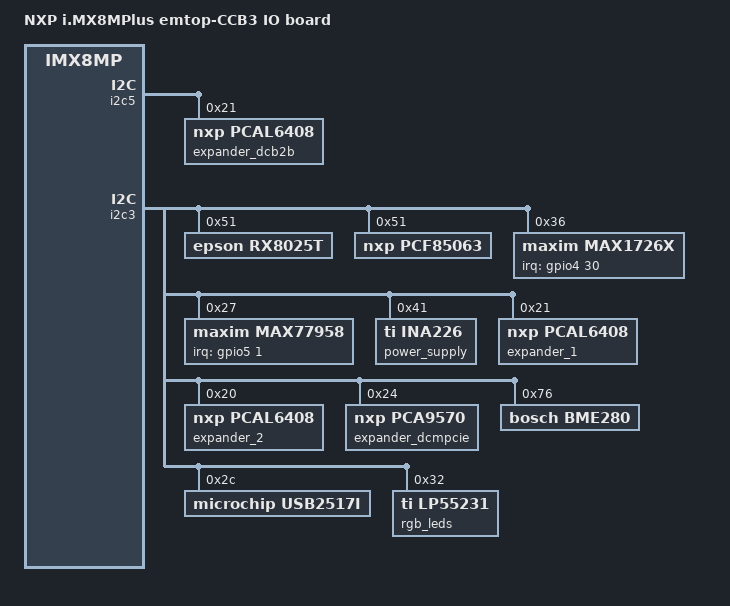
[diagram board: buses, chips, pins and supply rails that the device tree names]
#include "emtop-imx8mp-baseboard-hdmi.dts"

&pinctrl_hog {
	fsl,pins = <
		MX8MP_IOMUXC_ECSPI2_SCLK__GPIO5_IO10		0x19
		MX8MP_IOMUXC_ECSPI2_MOSI__GPIO5_IO11		0x19
		MX8MP_IOMUXC_ECSPI2_MISO__GPIO5_IO12		0x19
		MX8MP_IOMUXC_ECSPI2_SS0__GPIO5_IO13		0x19
	>;
};

// &pinctrl_uart2 {
// 	fsl,pins = <
// 		MX8MP_IOMUXC_UART2_RXD__GPIO5_IO24	0x19
// 		MX8MP_IOMUXC_UART2_TXD__GPIO5_IO25	0x19
// 	>;
// };


&iomuxc {
	pinctrl_uart4: uart4grp {
		fsl,pins = <
			MX8MP_IOMUXC_UART4_RXD__GPIO5_IO28	0x19
			MX8MP_IOMUXC_UART4_TXD__GPIO5_IO29	0x19
		>;
	};
};

/ {
	model = "NXP i.MX8MPlus emtop-CCB3 IO board";
	compatible = "fsl,imx8mp-evk", "fsl,imx8mp";

	aliases {
		rtc0 = &snvs_rtc;
		rtc1 = &pcf85063;
	};

	gpio-leds {
		act_led: sys {
			label = "led0";
			linux,default-trigger = "mmc0";
			gpios = <&gpio3 16 GPIO_ACTIVE_HIGH>;
		};

                /* pwr_led pin (95) is "reserved" in Emtop SOM-IMX8 */

		/* usb1_pwren gpio conflicts with MCU_RH_GPIO */
		usb1_pwren: usb1_pwren {
			label = "usb1_pwren";
			/delete-property/ linux,default-trigger;
			/delete-property/ gpios;
		};

		sta_led: sta {
			label = "led1";
			linux,default-trigger = "gpio";
			gpios = <&gpio1 6 GPIO_ACTIVE_HIGH>;
		};

		ap_led: ap {
			label = "led2";
			linux,default-trigger = "gpio";
			gpios = <&gpio4 31 GPIO_ACTIVE_HIGH>;
		};
	};
};

&gpio1 { /* gpiochip0 */
	gpio-line-names =
		/* 0*/ "unnamed",
		/* 1*/ "unnamed",
		/* 2*/ "unnamed",
		/* 3*/ "unnamed",
		/* 4*/ "unnamed",
		/* 5*/ "unnamed",
		/* 6*/ "unnamed",
		/* 7*/ "MCU_RH_GPIO2",
		/* 8*/ "unnamed",
		/* 9*/ "unnamed",
		/*10*/ "unnamed",
		/*11*/ "unnamed",
		/*12*/ "unnamed",
		/*13*/ "unnamed",
		/*14*/ "unnamed",
		/*15*/ "unnamed",
		/*16*/ "unnamed",
		/*17*/ "unnamed",
		/*18*/ "unnamed",
		/*19*/ "unnamed",
		/*20*/ "unnamed",
		/*21*/ "unnamed",
		/*22*/ "unnamed",
		/*23*/ "unnamed",
		/*24*/ "unnamed",
		/*25*/ "unnamed",
		/*26*/ "unnamed",
		/*27*/ "unnamed",
		/*28*/ "unnamed",
		/*29*/ "unnamed",
		/*30*/ "unnamed",
		/*31*/ "unnamed";
};

&gpio2 { /* gpiochip1 */
	gpio-line-names =
		/* 0*/ "unnamed",
		/* 1*/ "unnamed",
		/* 2*/ "unnamed",
		/* 3*/ "unnamed",
		/* 4*/ "unnamed",
		/* 5*/ "unnamed",
		/* 6*/ "unnamed",
		/* 7*/ "unnamed",
		/* 8*/ "unnamed",
		/* 9*/ "unnamed",
		/*10*/ "unnamed",
		/*11*/ "unnamed",
		/*12*/ "unnamed",
		/*13*/ "unnamed",
		/*14*/ "unnamed",
		/*15*/ "unnamed",
		/*16*/ "unnamed",
		/*17*/ "unnamed",
		/*18*/ "unnamed",
		/*19*/ "unnamed",
		/*20*/ "GPIO17",
		/*21*/ "unnamed",
		/*22*/ "unnamed",
		/*23*/ "unnamed",
		/*24*/ "unnamed",
		/*25*/ "unnamed",
		/*26*/ "unnamed",
		/*27*/ "unnamed",
		/*28*/ "unnamed",
		/*29*/ "unnamed",
		/*30*/ "unnamed",
		/*31*/ "unnamed";
};

&gpio3 { /* gpiochip2 */
	gpio-line-names =
		/* 0*/ "unnamed",
		/* 1*/ "unnamed",
		/* 2*/ "unnamed",
		/* 3*/ "unnamed",
		/* 4*/ "unnamed",
		/* 5*/ "unnamed",
		/* 6*/ "unnamed",
		/* 7*/ "unnamed",
		/* 8*/ "unnamed",
		/* 9*/ "unnamed",
		/*10*/ "unnamed",
		/*11*/ "unnamed",
		/*12*/ "unnamed",
		/*13*/ "unnamed",
		/*14*/ "unnamed",
		/*15*/ "unnamed",
		/*16*/ "unnamed",
		/*17*/ "unnamed",
		/*18*/ "unnamed",
		/*19*/ "unnamed",
		/*20*/ "unnamed",
		/*21*/ "unnamed",
		/*22*/ "unnamed",
		/*23*/ "unnamed",
		/*24*/ "unnamed",
		/*25*/ "unnamed",
		/*26*/ "unnamed",
		/*27*/ "unnamed",
		/*28*/ "unnamed",
		/*29*/ "unnamed",
		/*30*/ "unnamed",
		/*31*/ "unnamed";
};

&gpio4 { /* gpiochip3 */
	gpio-line-names =
		/* 0*/ "unnamed",
		/* 1*/ "unnamed",
		/* 2*/ "unnamed",
		/* 3*/ "unnamed",
		/* 4*/ "unnamed",
		/* 5*/ "unnamed",
		/* 6*/ "unnamed",
		/* 7*/ "unnamed",
		/* 8*/ "unnamed",
		/* 9*/ "unnamed",
		/*10*/ "unnamed",
		/*11*/ "unnamed",
		/*12*/ "unnamed",
		/*13*/ "unnamed",
		/*14*/ "unnamed",
		/*15*/ "unnamed",
		/*16*/ "unnamed",
		/*17*/ "unnamed",
		/*18*/ "unnamed",
		/*19*/ "unnamed",
		/*20*/ "unnamed",
		/*21*/ "unnamed",
		/*22*/ "mPCIe_STATUS",
		/*23*/ "unnamed",
		/*24*/ "unnamed",
		/*25*/ "unnamed",
		/*26*/ "unnamed",
		/*27*/ "GPIO27",
		/*28*/ "GPIO16",
		/*29*/ "GPIO26",
		/*30*/ "FG_ALERT",
		/*31*/ "IO_EXT_INT";
};

&gpio5 { /* gpiochip4 */
	gpio-line-names =
		/* 0*/ "MCU_RH_GPIO1",
		/* 1*/ "PD_INTB",
		/* 2*/ "mPCIe_COEX1",
		/* 3*/ "unnamed",
		/* 4*/ "unnamed",
		/* 5*/ "mPCIe_COEX2",
		/* 6*/ "mPCIe_SPI_CLK",
		/* 7*/ "mPCIe_SPI_MOSI",
		/* 8*/ "mPCIe_SPI_MISO",
		/* 9*/ "mPCIe_SPI_CS",
		/*10*/ "MCU_SPI_CLK",
		/*11*/ "MCU_SPI_MOSI",
		/*12*/ "MCU_SPI_MISO",
		/*13*/ "MCU_SPI_CS",
		/*14*/ "unnamed",
		/*15*/ "unnamed",
		/*16*/ "unnamed",
		/*17*/ "unnamed",
		/*18*/ "unnamed",
		/*19*/ "unnamed",
		/*20*/ "unnamed",
		/*21*/ "unnamed",
		/*22*/ "unnamed",
		/*23*/ "unnamed",
		/*24*/ "unnamed",
		/*25*/ "unnamed",
		/*26*/ "unnamed",
		/*27*/ "unnamed",
		/*28*/ "RH_COEX1",
		/*29*/ "RH_COEX2",
		/*30*/ "unnamed",
		/*31*/ "unnamed";
};

/* ### CM4IO Based Comms Devices ### */
&i2c5 {
	expander_dcb2b: pcal6408@21 {
		compatible = "nxp,pcal6408";
		reg = <0x21>;
		gpio-controller;
		#gpio-cells = <2>;
		gpio-line-names = "nrf52_pwr_en",
				"nrf52_reset",
				"subghz_pwr_en",
				"subghz_rst",
				"nrf52_dfu";
	};
};

&i2c3 {
	pinctrl-names = "default";
	pinctrl-0 = <&pinctrl_i2c3>;
	status = "okay";

	/* Conflicts with lp5523 */
	/delete-node/ rtc@32;

	rx8025t: rtc@51 {
		compatible = "epson,rx8025t";
		reg = <0x51>;
	};
	
	pcf85063: pcf85063@51 {
		compatible = "nxp,pcf85063";
		reg = <0x51>;
	};

	MAX1726x@36 {
		compatible  = "maxim,MAX1726x";
		status              = "okay";
		reg                 = <0x36>;

		interrupt-parent    = <&gpio4>;
		interrupts          = <30 IRQ_TYPE_EDGE_FALLING>;


		rsense          = <5>;/* 5 miliOhm */
		model-option    = <1>;	/* 1: EZ Model, 2: Custom INI without model table
					3: Custom INI with custom model table */

		talrt-min   = <0>;          /* DegreeC */
		talrt-max   = <90>;         /* DegreeC */
		valrt-min   = <3450>;       /* mV */
		valrt-max   = <4300>;       /* mV */
		salrt-min   = <1>;          /* Percent */
		salrt-max   = <99>;         /* Percent */
		ialrt-min   = <(-4500)>;    /* mA */
		ialrt-max   = <4500>;       /* mA */


		/*** INI parameters ***/
		/* Option 1/2/3 */
		designcap   = /bits/ 16 <0x1388>; /* 5000 mAh */
		ichgterm    = /bits/ 16 <0x0320>; /* x * 0.31250mA = 250mA => 800dec => 0x320*/
		vempty      = /bits/ 16 <0xA561>; /* 3300 mV */
		vcharge     = <4208>; /* 4208mV */

		/* Option 2/3 */
		learncfg    = /bits/ 16 <0xC482>;
		rcomp0      = /bits/ 16 <0x0070>;
		tempco      = /bits/ 16 <0x223E>;
		qrtable00   = /bits/ 16 <0x1050>;
		qrtable10   = /bits/ 16 <0x2013>;
		qrtable20   = /bits/ 16 <0x0B04>;
		qrtable30   = /bits/ 16 <0x0885>;

		/* Option 2 */
		dpacc       = /bits/ 16 <0x0C80>;
		modelcfg    = /bits/ 16 <0x8000>;

		/* Option 3 */
		relaxcfg    = /bits/ 16 <0x2039>;
		config      = /bits/ 16 <0x2314>;
		config2     = /bits/ 16 <0x064F>;
		fullsocthr  = /bits/ 16 <0x5F05>;
		tgain       = /bits/ 16 <0xEE56>;
		toff        = /bits/ 16 <0x1DA4>;
		curve       = /bits/ 16 <0x0025>;
		model-data  = /bits/ 16 <
		/* OCV Table */
		0x9760 0xa510 0xb100 0xb600 0xb7a0 0xb900 0xba70 0xbc70
		0xbde0 0xbfc0 0xc250 0xc510 0xc990 0xcea0 0xd040 0xd750
		/* X Table */
		0x0060 0x0120 0x0240 0x0d80 0x08b0 0x0590 0x1200 0x3210
		0x0ee0 0x0a40 0x0950 0x08e0 0x0800 0x0780 0x06b0 0x06b0
		/* RCompSeg Table */
		0x0100 0x0100 0x0100 0x0100 0x0100 0x0100 0x0100 0x0100
		0x0100 0x0100 0x0100 0x0100 0x0100 0x0100 0x0100 0x0100
		>;
	};

	max77958@27 {
		compatible  = "maxim,max77958";
		status = "okay";
		reg = <0x27>;

		interrupts-parent = <&gpio5>;
		interrupts = <1 IRQ_TYPE_EDGE_FALLING>;
		max77958,irq-gpio  = <&gpio5 1 IRQ_TYPE_EDGE_FALLING>;
		max77958,wakeup;

		max77958-usbc {
			compatible = "maxim,max77958-usbc";
		};
	};
	
	power_supply@41 {
		compatible = "ti,ina226";
		reg = <0x41>;
		shunt-resistor = <5000>;
	};

	expander_1: pcal6408@21 {
		compatible = "nxp,pcal6408";
		reg = <0x21>;
		gpio-controller;
		#gpio-cells = <2>;
		gpio-line-names = "poweroff_mcu",
				"pwren_mpcie",
				"mcu_mux_sel0",
				"mcu_mux_sel1",
				"mcu_otg_ctrl",
				"pcb_ver_1",
				"pcb_ver_2",
				"pcb_ver_3";
	};

	expander_2: pcal6408@20 {
		compatible = "nxp,pcal6408";
		reg = <0x20>;
		gpio-controller;
		#gpio-cells = <2>;
		gpio-line-names = "host_alert",
				"mcu_pwr_led",
				"reset_gnss",
				"w_disable_mpcie",
				"pbk_dcin_en",
				"button1",
				"button2",
				"button3";
		interrupt-controller; /* mark the node as interrupt-controller */
		#interrupt-cells = <2>; /* pin number and flags */
		interrupts-parent = <&gpio4>;
		interrupts = <31 IRQ_TYPE_EDGE_FALLING>;
	};

	/* expander chip on discreet communicator mpci card for WIR module */
	expander_dcmpcie: pca9570@24 {
		compatible = "nxp,pca9570";
		reg = <0x24>;
		gpio-controller;
		#gpio-cells = <2>;
		gpio-line-names = "yr22_tx_cf_ext",
				"yr22_tx_clk_ext";
	};

	bme280: bme280@76 {
		compatible = "bosch,bme280";
		reg = <0x76>;
		status = "okay";
	};

	usb2517i@2c {
		compatible = "microchip,usb2517i";
		reg = <0x2c>;
	};

	lp5523: lp5523@32 {
		#address-cells = <1>;
		#size-cells = <0>;
		compatible = "ti,lp55231";
		label = "rgb_leds";
		reg = <0x32>;
		clock-mode = /bits/ 8 <0>; /* LP55XX_CLOCK_AUTO */

		multi-led@0 {
			#address-cells = <1>;
			#size-cells = <0>;
			reg = <0x0>;
			color = <9>; /* LED_COLOR_ID_RGB> */

			led@0 {
				led-cur = /bits/ 8 <12>;
				max-cur = /bits/ 8 <15>;
				reg = <0x0>;
				color = <2>; /* LED_COLOR_ID_GREEN */
			};

			led@1 {
				max-cur = /bits/ 8 <15>;
				led-cur = /bits/ 8 <12>;
				reg = <0x1>;
				color = <3>; /* LED_COLOR_ID_BLUE */
			};

			led@6 {
				led-cur = /bits/ 8 <12>;
				max-cur = /bits/ 8 <15>;
				reg = <0x6>;
				color = <1>; /* LED_COLOR_ID_RED */
			};
		};
		multi-led@1 {
			#address-cells = <1>;
			#size-cells = <0>;
			reg = <0x1>;
			color = <9>; /* LED_COLOR_ID_RGB> */

			led@2 {
				led-cur = /bits/ 8 <12>;
				max-cur = /bits/ 8 <15>;
				reg = <0x2>;
				color = <2>; /* LED_COLOR_ID_GREEN */
			};

			led@3 {
				led-cur = /bits/ 8 <12>;
				max-cur = /bits/ 8 <15>;
				reg = <0x3>;
				color = <3>; /* LED_COLOR_ID_BLUE */
			};

			led@7 {
				led-cur = /bits/ 8 <12>;
				max-cur = /bits/ 8 <15>;
				reg = <0x7>;
				color = <1>; /* LED_COLOR_ID_RED */
			};
		};
		multi-led@2 {
			#address-cells = <1>;
			#size-cells = <0>;
			reg = <0x2>;
			color = <9>; /* LED_COLOR_ID_RGB> */

			led@4 {
				led-cur = /bits/ 8 <12>;
				max-cur = /bits/ 8 <15>;
				reg = <0x4>;
				color = <2>; /* LED_COLOR_ID_GREEN */
			};

			led@5 {
				led-cur = /bits/ 8 <12>;
				max-cur = /bits/ 8 <15>;
				reg = <0x5>;
				color = <3>; /* LED_COLOR_ID_BLUE */
			};

			led@8 {
				led-cur = /bits/ 8 <12>;
				max-cur = /bits/ 8 <15>;
				reg = <0x8>;
				color = <1>; /* LED_COLOR_ID_RED */
			};
		};
	};

};

/*
 * pins of spi2 test as gpio */
&ecspi2 {
	status = "disabled";
};

&hdmi {
	status = "disabled";
};

&mipi_dsi {
	status = "disabled";
};

&panel_mipi_70t {
	status = "disabled";
};

&goodix {
	status = "disabled";
};

/* Conflicts with mPCIe_SPI_CLK */
&uart3 {
	/delete-property/ pinctrl-names;
	/delete-property/ pinctrl-0;
	/delete-property/ assigned-clocks;
	/delete-property/ assigned-clock-parents;
	/delete-property/ rts-gpios;
	status = "disabled";
};
